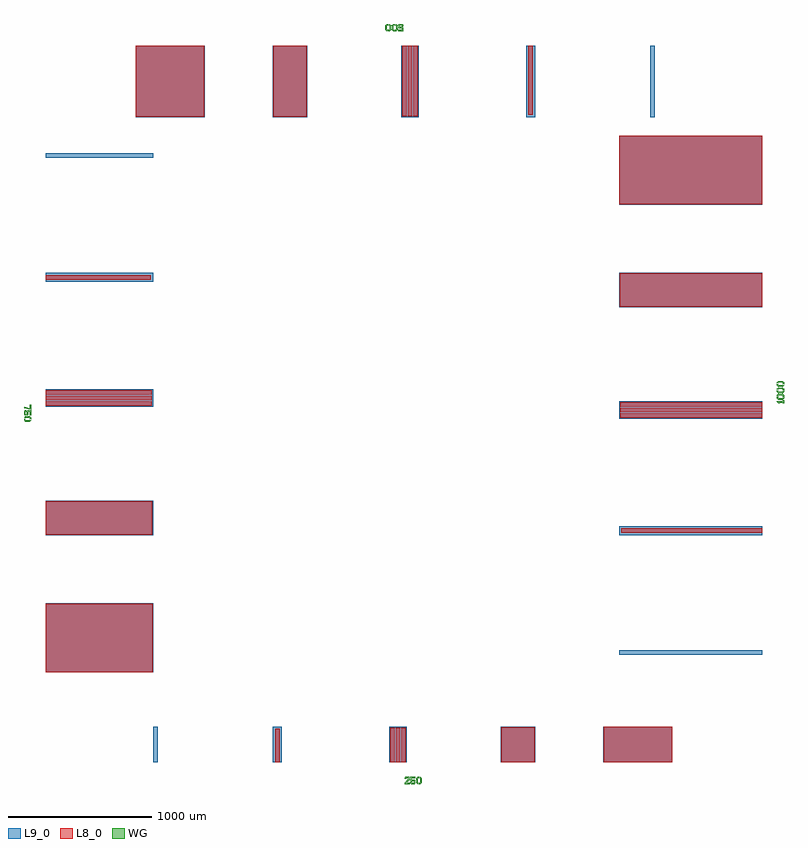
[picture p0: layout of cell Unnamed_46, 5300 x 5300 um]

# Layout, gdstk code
from math import pi, radians
import gdstk
lib = gdstk.Library(unit=1e-6, precision=1e-09)
def R(c, l, rs):  # rectangles x0, y0, x1, y1
    for r in rs: c.add(gdstk.rectangle(r[:2], r[2:], *l))
def P(c, l, *ps):  # polygons
    for p in ps: c.add(gdstk.Polygon(p, *l))
WG = (1, 0)
L8_0 = (8, 0)
L9_0 = (9, 0)

text_t1000_s50_p0_0_jlef = lib.new_cell('text_T1000_S50_P0_0_Jleft_L1_0')
P(text_t1000_s50_p0_0_jlef, WG, [(48.5,0),(51,10),(55,10),(60,15),(60,35),(55,40),(57.5,50),(60,50),(70,40),(70,10),(60,0)],
  [(93.5,0),(96,10),(100,10),(105,15),(105,35),(100,40),(102.5,50),(105,50),(115,40),(115,10),(105,0)],
  [(138.5,0),(141,10),(145,10),(150,15),(150,35),(145,40),(147.5,50),(150,50),(160,40),(160,10),(150,0)],
  [(40,0),(30,10),(30,40),(40,50),(51.5,50),(49,40),(45,40),(40,35),(40,15),(45,10),(42.5,0)],
  [(85,0),(75,10),(75,40),(85,50),(96.5,50),(94,40),(90,40),(85,35),(85,15),(90,10),(87.5,0)],
  [(130,0),(120,10),(120,40),(130,50),(141.5,50),(139,40),(135,40),(130,35),(130,15),(135,10),(132.5,0)],
  [(5,0),(5,10),(10,10),(10,30),(5,30),(5,40),(15,50),(20,50),(20,10),(25,10),(25,0)])

rectangle_s482_1000_l9__ = lib.new_cell('rectangle_S482_1000_L9__861ac93e')
R(rectangle_s482_1000_l9__, L9_0, [(0,0,482,1000)])

rectangle_s30_998_l8_0__ = lib.new_cell('rectangle_S30_998_L8_0__dc77364f')
R(rectangle_s30_998_l8_0__, L8_0, [(0,0,30,998)])

unnamed_40 = lib.new_cell('Unnamed_40')
unnamed_40.add(gdstk.Reference(rectangle_s482_1000_l9__, (998,0)))
unnamed_40.add(gdstk.Reference(rectangle_s30_998_l8_0__, (1000,0)))
unnamed_40.add(gdstk.Reference(rectangle_s30_998_l8_0__, (1032,0)))
unnamed_40.add(gdstk.Reference(rectangle_s30_998_l8_0__, (1064,0)))
unnamed_40.add(gdstk.Reference(rectangle_s30_998_l8_0__, (1096,0)))
unnamed_40.add(gdstk.Reference(rectangle_s30_998_l8_0__, (1128,0)))
unnamed_40.add(gdstk.Reference(rectangle_s30_998_l8_0__, (1160,0)))
unnamed_40.add(gdstk.Reference(rectangle_s30_998_l8_0__, (1192,0)))
unnamed_40.add(gdstk.Reference(rectangle_s30_998_l8_0__, (1224,0)))
unnamed_40.add(gdstk.Reference(rectangle_s30_998_l8_0__, (1256,0)))
unnamed_40.add(gdstk.Reference(rectangle_s30_998_l8_0__, (1288,0)))
unnamed_40.add(gdstk.Reference(rectangle_s30_998_l8_0__, (1320,0)))
unnamed_40.add(gdstk.Reference(rectangle_s30_998_l8_0__, (1352,0)))
unnamed_40.add(gdstk.Reference(rectangle_s30_998_l8_0__, (1384,0)))
unnamed_40.add(gdstk.Reference(rectangle_s30_998_l8_0__, (1416,0)))
unnamed_40.add(gdstk.Reference(rectangle_s30_998_l8_0__, (1448,0)))

rectangle_s242_1000_l9__ = lib.new_cell('rectangle_S242_1000_L9__92d45bdb')
R(rectangle_s242_1000_l9__, L9_0, [(0,0,242,1000)])

rectangle_s30_996_l8_0__ = lib.new_cell('rectangle_S30_996_L8_0__71fbb211')
R(rectangle_s30_996_l8_0__, L8_0, [(0,0,30,996)])

unnamed_39 = lib.new_cell('Unnamed_39')
unnamed_39.add(gdstk.Reference(rectangle_s242_1000_l9__, (996,0)))
unnamed_39.add(gdstk.Reference(rectangle_s30_996_l8_0__, (1000,0)))
unnamed_39.add(gdstk.Reference(rectangle_s30_996_l8_0__, (1034,0)))
unnamed_39.add(gdstk.Reference(rectangle_s30_996_l8_0__, (1068,0)))
unnamed_39.add(gdstk.Reference(rectangle_s30_996_l8_0__, (1102,0)))
unnamed_39.add(gdstk.Reference(rectangle_s30_996_l8_0__, (1136,0)))
unnamed_39.add(gdstk.Reference(rectangle_s30_996_l8_0__, (1170,0)))
unnamed_39.add(gdstk.Reference(rectangle_s30_996_l8_0__, (1204,0)))

rectangle_s122_1000_l9__ = lib.new_cell('rectangle_S122_1000_L9__1de77251')
R(rectangle_s122_1000_l9__, L9_0, [(0,0,122,1000)])

rectangle_s30_992_l8_0__ = lib.new_cell('rectangle_S30_992_L8_0__45c73a1c')
R(rectangle_s30_992_l8_0__, L8_0, [(0,0,30,992)])

unnamed_38 = lib.new_cell('Unnamed_38')
unnamed_38.add(gdstk.Reference(rectangle_s122_1000_l9__, (992,0)))
unnamed_38.add(gdstk.Reference(rectangle_s30_992_l8_0__, (1000,0)))
unnamed_38.add(gdstk.Reference(rectangle_s30_992_l8_0__, (1038,0)))
unnamed_38.add(gdstk.Reference(rectangle_s30_992_l8_0__, (1076,0)))

rectangle_s62_1000_l9_0_ = lib.new_cell('rectangle_S62_1000_L9_0_8d7e5a74')
R(rectangle_s62_1000_l9_0_, L9_0, [(0,0,62,1000)])

rectangle_s30_984_l8_0__ = lib.new_cell('rectangle_S30_984_L8_0__1ec71172')
R(rectangle_s30_984_l8_0__, L8_0, [(0,0,30,984)])

unnamed_37 = lib.new_cell('Unnamed_37')
unnamed_37.add(gdstk.Reference(rectangle_s62_1000_l9_0_, (984,0)))
unnamed_37.add(gdstk.Reference(rectangle_s30_984_l8_0__, (1000,0)))

rectangle_s32_1000_l9_0_ = lib.new_cell('rectangle_S32_1000_L9_0_b59e78e6')
R(rectangle_s32_1000_l9_0_, L9_0, [(0,0,32,1000)])

unnamed_36 = lib.new_cell('Unnamed_36')
unnamed_36.add(gdstk.Reference(rectangle_s32_1000_l9_0_, (968,0)))

unnamed_44 = lib.new_cell('Unnamed_44')
unnamed_44.add(gdstk.Reference(text_t1000_s50_p0_0_jlef, (2500,-150)))
unnamed_44.add(gdstk.Reference(unnamed_40, (2892.333,0)))
unnamed_44.add(gdstk.Reference(unnamed_39, (2179,0)))
unnamed_44.add(gdstk.Reference(unnamed_38, (1405.667,0)))
unnamed_44.add(gdstk.Reference(unnamed_37, (602.333,0)))
unnamed_44.add(gdstk.Reference(unnamed_36, (-216,0)))

rectangle_s482_500_l9_0_ = lib.new_cell('rectangle_S482_500_L9_0_1a437853')
R(rectangle_s482_500_l9_0_, L9_0, [(0,0,482,500)])

rectangle_s30_498_l8_0__ = lib.new_cell('rectangle_S30_498_L8_0__8be0d384')
R(rectangle_s30_498_l8_0__, L8_0, [(0,0,30,498)])

unnamed_30 = lib.new_cell('Unnamed_30')
unnamed_30.add(gdstk.Reference(rectangle_s482_500_l9_0_, (998,0)))
unnamed_30.add(gdstk.Reference(rectangle_s30_498_l8_0__, (1000,0)))
unnamed_30.add(gdstk.Reference(rectangle_s30_498_l8_0__, (1032,0)))
unnamed_30.add(gdstk.Reference(rectangle_s30_498_l8_0__, (1064,0)))
unnamed_30.add(gdstk.Reference(rectangle_s30_498_l8_0__, (1096,0)))
unnamed_30.add(gdstk.Reference(rectangle_s30_498_l8_0__, (1128,0)))
unnamed_30.add(gdstk.Reference(rectangle_s30_498_l8_0__, (1160,0)))
unnamed_30.add(gdstk.Reference(rectangle_s30_498_l8_0__, (1192,0)))
unnamed_30.add(gdstk.Reference(rectangle_s30_498_l8_0__, (1224,0)))
unnamed_30.add(gdstk.Reference(rectangle_s30_498_l8_0__, (1256,0)))
unnamed_30.add(gdstk.Reference(rectangle_s30_498_l8_0__, (1288,0)))
unnamed_30.add(gdstk.Reference(rectangle_s30_498_l8_0__, (1320,0)))
unnamed_30.add(gdstk.Reference(rectangle_s30_498_l8_0__, (1352,0)))
unnamed_30.add(gdstk.Reference(rectangle_s30_498_l8_0__, (1384,0)))
unnamed_30.add(gdstk.Reference(rectangle_s30_498_l8_0__, (1416,0)))
unnamed_30.add(gdstk.Reference(rectangle_s30_498_l8_0__, (1448,0)))

rectangle_s242_500_l9_0_ = lib.new_cell('rectangle_S242_500_L9_0_704965d9')
R(rectangle_s242_500_l9_0_, L9_0, [(0,0,242,500)])

rectangle_s30_496_l8_0__ = lib.new_cell('rectangle_S30_496_L8_0__2dacb0b5')
R(rectangle_s30_496_l8_0__, L8_0, [(0,0,30,496)])

unnamed_29 = lib.new_cell('Unnamed_29')
unnamed_29.add(gdstk.Reference(rectangle_s242_500_l9_0_, (996,0)))
unnamed_29.add(gdstk.Reference(rectangle_s30_496_l8_0__, (1000,0)))
unnamed_29.add(gdstk.Reference(rectangle_s30_496_l8_0__, (1034,0)))
unnamed_29.add(gdstk.Reference(rectangle_s30_496_l8_0__, (1068,0)))
unnamed_29.add(gdstk.Reference(rectangle_s30_496_l8_0__, (1102,0)))
unnamed_29.add(gdstk.Reference(rectangle_s30_496_l8_0__, (1136,0)))
unnamed_29.add(gdstk.Reference(rectangle_s30_496_l8_0__, (1170,0)))
unnamed_29.add(gdstk.Reference(rectangle_s30_496_l8_0__, (1204,0)))

rectangle_s122_500_l9_0_ = lib.new_cell('rectangle_S122_500_L9_0_ffbf6d70')
R(rectangle_s122_500_l9_0_, L9_0, [(0,0,122,500)])

rectangle_s30_492_l8_0__ = lib.new_cell('rectangle_S30_492_L8_0__69f82033')
R(rectangle_s30_492_l8_0__, L8_0, [(0,0,30,492)])

unnamed_28 = lib.new_cell('Unnamed_28')
unnamed_28.add(gdstk.Reference(rectangle_s122_500_l9_0_, (992,0)))
unnamed_28.add(gdstk.Reference(rectangle_s30_492_l8_0__, (1000,0)))
unnamed_28.add(gdstk.Reference(rectangle_s30_492_l8_0__, (1038,0)))
unnamed_28.add(gdstk.Reference(rectangle_s30_492_l8_0__, (1076,0)))

rectangle_s62_500_l9_0__ = lib.new_cell('rectangle_S62_500_L9_0__e5c27c60')
R(rectangle_s62_500_l9_0__, L9_0, [(0,0,62,500)])

rectangle_s30_484_l8_0__ = lib.new_cell('rectangle_S30_484_L8_0__f2229886')
R(rectangle_s30_484_l8_0__, L8_0, [(0,0,30,484)])

unnamed_27 = lib.new_cell('Unnamed_27')
unnamed_27.add(gdstk.Reference(rectangle_s62_500_l9_0__, (984,0)))
unnamed_27.add(gdstk.Reference(rectangle_s30_484_l8_0__, (1000,0)))

text_t500_s50_p0_0_jleft = lib.new_cell('text_T500_S50_P0_0_Jleft_L1_0')
P(text_t500_s50_p0_0_jleft, WG, [(63.5,0),(66,10),(70,10),(75,15),(75,35),(70,40),(72.5,50),(75,50),(85,40),(85,10),(75,0)],
  [(108.5,0),(111,10),(115,10),(120,15),(120,35),(115,40),(117.5,50),(120,50),(130,40),(130,10),(120,0)],
  [(55,0),(45,10),(45,40),(55,50),(66.5,50),(64,40),(60,40),(55,35),(55,15),(60,10),(57.5,0)],
  [(100,0),(90,10),(90,40),(100,50),(111.5,50),(109,40),(105,40),(100,35),(100,15),(105,10),(102.5,0)],
  [(10,0),(5,5),(5,15),(15,15),(15,10),(30,10),(30,20),(10,20),(5,25),(5,50),(40,50),(40,40),(15,40),(15,30),(35,30),(40,25),(40,5),(35,0)])

rectangle_s32_500_l9_0__ = lib.new_cell('rectangle_S32_500_L9_0__03d4ae10')
R(rectangle_s32_500_l9_0__, L9_0, [(0,0,32,500)])

unnamed_26 = lib.new_cell('Unnamed_26')
unnamed_26.add(gdstk.Reference(rectangle_s32_500_l9_0__, (968,0)))

unnamed_42 = lib.new_cell('Unnamed_42')
unnamed_42.add(gdstk.Reference(unnamed_30, (2892.333,0)))
unnamed_42.add(gdstk.Reference(unnamed_29, (2179,0)))
unnamed_42.add(gdstk.Reference(unnamed_28, (1405.667,0)))
unnamed_42.add(gdstk.Reference(unnamed_27, (602.333,0)))
unnamed_42.add(gdstk.Reference(text_t500_s50_p0_0_jleft, (2500,-150)))
unnamed_42.add(gdstk.Reference(unnamed_26, (-216,0)))

unnamed_45 = lib.new_cell('Unnamed_45')

text_t750_s50_p0_0_jleft = lib.new_cell('text_T750_S50_P0_0_Jleft_L1_0')
P(text_t750_s50_p0_0_jleft, WG, [(95,0),(85,10),(85,40),(95,50),(106.5,50),(104,40),(100,40),(95,35),(95,15),(100,10),(97.5,0)],
  [(50,0),(45,5),(45,15),(55,15),(55,10),(70,10),(70,20),(50,20),(45,25),(45,50),(80,50),(80,40),(55,40),(55,30),(75,30),(80,25),(80,5),(75,0)],
  [(103.5,0),(106,10),(110,10),(115,15),(115,35),(110,40),(112.5,50),(115,50),(125,40),(125,10),(115,0)],
  [(20,0),(28,40),(5,40),(5,50),(40,50),(30,0)])

rectangle_s242_750_l9_0_ = lib.new_cell('rectangle_S242_750_L9_0_92145212')
R(rectangle_s242_750_l9_0_, L9_0, [(0,0,242,750)])

rectangle_s30_746_l8_0__ = lib.new_cell('rectangle_S30_746_L8_0__16932186')
R(rectangle_s30_746_l8_0__, L8_0, [(0,0,30,746)])

unnamed_34 = lib.new_cell('Unnamed_34')
unnamed_34.add(gdstk.Reference(rectangle_s242_750_l9_0_, (996,0)))
unnamed_34.add(gdstk.Reference(rectangle_s30_746_l8_0__, (1000,0)))
unnamed_34.add(gdstk.Reference(rectangle_s30_746_l8_0__, (1034,0)))
unnamed_34.add(gdstk.Reference(rectangle_s30_746_l8_0__, (1068,0)))
unnamed_34.add(gdstk.Reference(rectangle_s30_746_l8_0__, (1102,0)))
unnamed_34.add(gdstk.Reference(rectangle_s30_746_l8_0__, (1136,0)))
unnamed_34.add(gdstk.Reference(rectangle_s30_746_l8_0__, (1170,0)))
unnamed_34.add(gdstk.Reference(rectangle_s30_746_l8_0__, (1204,0)))

rectangle_s32_750_l9_0__ = lib.new_cell('rectangle_S32_750_L9_0__0753b927')
R(rectangle_s32_750_l9_0__, L9_0, [(0,0,32,750)])

unnamed_31 = lib.new_cell('Unnamed_31')
unnamed_31.add(gdstk.Reference(rectangle_s32_750_l9_0__, (968,0)))

rectangle_s122_750_l9_0_ = lib.new_cell('rectangle_S122_750_L9_0_29948895')
R(rectangle_s122_750_l9_0_, L9_0, [(0,0,122,750)])

rectangle_s30_742_l8_0__ = lib.new_cell('rectangle_S30_742_L8_0__b1090c77')
R(rectangle_s30_742_l8_0__, L8_0, [(0,0,30,742)])

unnamed_33 = lib.new_cell('Unnamed_33')
unnamed_33.add(gdstk.Reference(rectangle_s122_750_l9_0_, (992,0)))
unnamed_33.add(gdstk.Reference(rectangle_s30_742_l8_0__, (1000,0)))
unnamed_33.add(gdstk.Reference(rectangle_s30_742_l8_0__, (1038,0)))
unnamed_33.add(gdstk.Reference(rectangle_s30_742_l8_0__, (1076,0)))

rectangle_s62_750_l9_0__ = lib.new_cell('rectangle_S62_750_L9_0__490fc4e6')
R(rectangle_s62_750_l9_0__, L9_0, [(0,0,62,750)])

rectangle_s30_734_l8_0__ = lib.new_cell('rectangle_S30_734_L8_0__5d0be103')
R(rectangle_s30_734_l8_0__, L8_0, [(0,0,30,734)])

unnamed_32 = lib.new_cell('Unnamed_32')
unnamed_32.add(gdstk.Reference(rectangle_s62_750_l9_0__, (984,0)))
unnamed_32.add(gdstk.Reference(rectangle_s30_734_l8_0__, (1000,0)))

rectangle_s482_750_l9_0_ = lib.new_cell('rectangle_S482_750_L9_0_bb1d3aa4')
R(rectangle_s482_750_l9_0_, L9_0, [(0,0,482,750)])

rectangle_s30_748_l8_0__ = lib.new_cell('rectangle_S30_748_L8_0__2eb9ab58')
R(rectangle_s30_748_l8_0__, L8_0, [(0,0,30,748)])

unnamed_35 = lib.new_cell('Unnamed_35')
unnamed_35.add(gdstk.Reference(rectangle_s482_750_l9_0_, (998,0)))
unnamed_35.add(gdstk.Reference(rectangle_s30_748_l8_0__, (1000,0)))
unnamed_35.add(gdstk.Reference(rectangle_s30_748_l8_0__, (1032,0)))
unnamed_35.add(gdstk.Reference(rectangle_s30_748_l8_0__, (1064,0)))
unnamed_35.add(gdstk.Reference(rectangle_s30_748_l8_0__, (1096,0)))
unnamed_35.add(gdstk.Reference(rectangle_s30_748_l8_0__, (1128,0)))
unnamed_35.add(gdstk.Reference(rectangle_s30_748_l8_0__, (1160,0)))
unnamed_35.add(gdstk.Reference(rectangle_s30_748_l8_0__, (1192,0)))
unnamed_35.add(gdstk.Reference(rectangle_s30_748_l8_0__, (1224,0)))
unnamed_35.add(gdstk.Reference(rectangle_s30_748_l8_0__, (1256,0)))
unnamed_35.add(gdstk.Reference(rectangle_s30_748_l8_0__, (1288,0)))
unnamed_35.add(gdstk.Reference(rectangle_s30_748_l8_0__, (1320,0)))
unnamed_35.add(gdstk.Reference(rectangle_s30_748_l8_0__, (1352,0)))
unnamed_35.add(gdstk.Reference(rectangle_s30_748_l8_0__, (1384,0)))
unnamed_35.add(gdstk.Reference(rectangle_s30_748_l8_0__, (1416,0)))
unnamed_35.add(gdstk.Reference(rectangle_s30_748_l8_0__, (1448,0)))

unnamed_43 = lib.new_cell('Unnamed_43')
unnamed_43.add(gdstk.Reference(text_t750_s50_p0_0_jleft, (2500,-150)))
unnamed_43.add(gdstk.Reference(unnamed_34, (2179,0)))
unnamed_43.add(gdstk.Reference(unnamed_31, (-216,0)))
unnamed_43.add(gdstk.Reference(unnamed_33, (1405.667,0)))
unnamed_43.add(gdstk.Reference(unnamed_32, (602.333,0)))
unnamed_43.add(gdstk.Reference(unnamed_35, (2892.333,0)))

text_t250_s50_p0_0_jleft = lib.new_cell('text_T250_S50_P0_0_Jleft_L1_0')
P(text_t250_s50_p0_0_jleft, WG, [(95,0),(85,10),(85,40),(95,50),(106.5,50),(104,40),(100,40),(95,35),(95,15),(100,10),(97.5,0)],
  [(50,0),(45,5),(45,15),(55,15),(55,10),(70,10),(70,20),(50,20),(45,25),(45,50),(80,50),(80,40),(55,40),(55,30),(75,30),(80,25),(80,5),(75,0)],
  [(103.5,0),(106,10),(110,10),(115,15),(115,35),(110,40),(112.5,50),(115,50),(125,40),(125,10),(115,0)],
  [(5,0),(5,10),(30,35),(30,40),(15,40),(15,35),(5,35),(5,45),(10,50),(35,50),(40,45),(40,30),(20,10),(40,10),(40,0)])

rectangle_s482_250_l9_0_ = lib.new_cell('rectangle_S482_250_L9_0_4f413a00')
R(rectangle_s482_250_l9_0_, L9_0, [(0,0,482,250)])

rectangle_s30_248_l8_0__ = lib.new_cell('rectangle_S30_248_L8_0__6b0140fd')
R(rectangle_s30_248_l8_0__, L8_0, [(0,0,30,248)])

unnamed_25 = lib.new_cell('Unnamed_25')
unnamed_25.add(gdstk.Reference(rectangle_s482_250_l9_0_, (998,0)))
unnamed_25.add(gdstk.Reference(rectangle_s30_248_l8_0__, (1000,0)))
unnamed_25.add(gdstk.Reference(rectangle_s30_248_l8_0__, (1032,0)))
unnamed_25.add(gdstk.Reference(rectangle_s30_248_l8_0__, (1064,0)))
unnamed_25.add(gdstk.Reference(rectangle_s30_248_l8_0__, (1096,0)))
unnamed_25.add(gdstk.Reference(rectangle_s30_248_l8_0__, (1128,0)))
unnamed_25.add(gdstk.Reference(rectangle_s30_248_l8_0__, (1160,0)))
unnamed_25.add(gdstk.Reference(rectangle_s30_248_l8_0__, (1192,0)))
unnamed_25.add(gdstk.Reference(rectangle_s30_248_l8_0__, (1224,0)))
unnamed_25.add(gdstk.Reference(rectangle_s30_248_l8_0__, (1256,0)))
unnamed_25.add(gdstk.Reference(rectangle_s30_248_l8_0__, (1288,0)))
unnamed_25.add(gdstk.Reference(rectangle_s30_248_l8_0__, (1320,0)))
unnamed_25.add(gdstk.Reference(rectangle_s30_248_l8_0__, (1352,0)))
unnamed_25.add(gdstk.Reference(rectangle_s30_248_l8_0__, (1384,0)))
unnamed_25.add(gdstk.Reference(rectangle_s30_248_l8_0__, (1416,0)))
unnamed_25.add(gdstk.Reference(rectangle_s30_248_l8_0__, (1448,0)))

rectangle_s242_250_l9_0_ = lib.new_cell('rectangle_S242_250_L9_0_62d8f9fe')
R(rectangle_s242_250_l9_0_, L9_0, [(0,0,242,250)])

rectangle_s30_246_l8_0__ = lib.new_cell('rectangle_S30_246_L8_0__4ac8022f')
R(rectangle_s30_246_l8_0__, L8_0, [(0,0,30,246)])

unnamed_24 = lib.new_cell('Unnamed_24')
unnamed_24.add(gdstk.Reference(rectangle_s242_250_l9_0_, (996,0)))
unnamed_24.add(gdstk.Reference(rectangle_s30_246_l8_0__, (1000,0)))
unnamed_24.add(gdstk.Reference(rectangle_s30_246_l8_0__, (1034,0)))
unnamed_24.add(gdstk.Reference(rectangle_s30_246_l8_0__, (1068,0)))
unnamed_24.add(gdstk.Reference(rectangle_s30_246_l8_0__, (1102,0)))
unnamed_24.add(gdstk.Reference(rectangle_s30_246_l8_0__, (1136,0)))
unnamed_24.add(gdstk.Reference(rectangle_s30_246_l8_0__, (1170,0)))
unnamed_24.add(gdstk.Reference(rectangle_s30_246_l8_0__, (1204,0)))

rectangle_s122_250_l9_0_ = lib.new_cell('rectangle_S122_250_L9_0_925dc8c7')
R(rectangle_s122_250_l9_0_, L9_0, [(0,0,122,250)])

rectangle_s30_242_l8_0__ = lib.new_cell('rectangle_S30_242_L8_0__f90f95f6')
R(rectangle_s30_242_l8_0__, L8_0, [(0,0,30,242)])

unnamed_23 = lib.new_cell('Unnamed_23')
unnamed_23.add(gdstk.Reference(rectangle_s122_250_l9_0_, (992,0)))
unnamed_23.add(gdstk.Reference(rectangle_s30_242_l8_0__, (1000,0)))
unnamed_23.add(gdstk.Reference(rectangle_s30_242_l8_0__, (1038,0)))
unnamed_23.add(gdstk.Reference(rectangle_s30_242_l8_0__, (1076,0)))

rectangle_s62_250_l9_0__ = lib.new_cell('rectangle_S62_250_L9_0__b934522f')
R(rectangle_s62_250_l9_0__, L9_0, [(0,0,62,250)])

rectangle_s30_234_l8_0__ = lib.new_cell('rectangle_S30_234_L8_0__2567a351')
R(rectangle_s30_234_l8_0__, L8_0, [(0,0,30,234)])

unnamed_22 = lib.new_cell('Unnamed_22')
unnamed_22.add(gdstk.Reference(rectangle_s62_250_l9_0__, (984,0)))
unnamed_22.add(gdstk.Reference(rectangle_s30_234_l8_0__, (1000,0)))

rectangle_s32_250_l9_0__ = lib.new_cell('rectangle_S32_250_L9_0__a2608acc')
R(rectangle_s32_250_l9_0__, L9_0, [(0,0,32,250)])

unnamed_21 = lib.new_cell('Unnamed_21')
unnamed_21.add(gdstk.Reference(rectangle_s32_250_l9_0__, (968,0)))

unnamed_41 = lib.new_cell('Unnamed_41')
unnamed_41.add(gdstk.Reference(text_t250_s50_p0_0_jleft, (2500,-150)))
unnamed_41.add(gdstk.Reference(unnamed_25, (2892.333,0)))
unnamed_41.add(gdstk.Reference(unnamed_24, (2179,0)))
unnamed_41.add(gdstk.Reference(unnamed_23, (1405.667,0)))
unnamed_41.add(gdstk.Reference(unnamed_22, (602.333,0)))
unnamed_41.add(gdstk.Reference(unnamed_21, (-216,0)))

unnamed_46 = lib.new_cell('Unnamed_46')
unnamed_46.add(gdstk.Reference(unnamed_44, (5000,0), rotation=pi/2))
unnamed_46.add(gdstk.Reference(unnamed_42, (5000,5000), rotation=pi))
unnamed_46.add(gdstk.Reference(unnamed_45, (5000,0), rotation=pi/2))
unnamed_46.add(gdstk.Reference(unnamed_43, (0,5000), rotation=3*pi/2))
unnamed_46.add(gdstk.Reference(unnamed_41, (0,0)))

lib.write_gds('Unnamed_46.gds')
